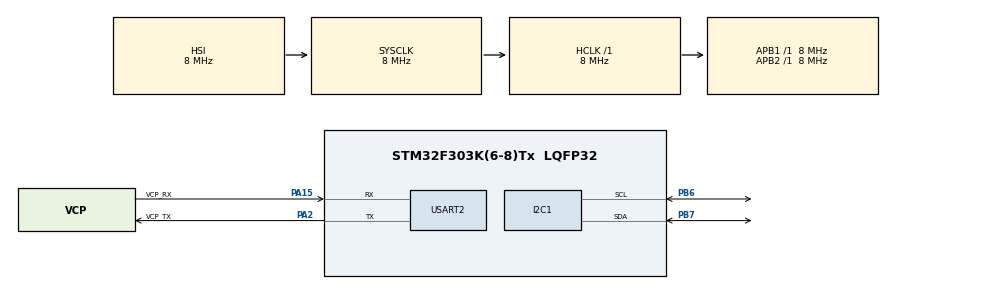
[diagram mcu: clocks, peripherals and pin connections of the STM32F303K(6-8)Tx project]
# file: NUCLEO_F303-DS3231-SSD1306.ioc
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Mcu.Family=STM32F3
Mcu.Name=STM32F303K(6-8)Tx
Mcu.Package=LQFP32
NVIC.PriorityGroup=NVIC_PRIORITYGROUP_4
PA13.GPIO_Label=SWDIO
PA13.Mode=Serial_Wire
PA13.Signal=SYS_JTMS-SWDIO
PA14.GPIO_Label=SWCLK
PA14.Mode=Serial_Wire
PA14.Signal=SYS_JTCK-SWCLK
PA15.GPIO_Label=VCP_RX
PA15.Mode=Asynchronous
PA15.Signal=USART2_RX
PA2.GPIO_Label=VCP_TX
PA2.Mode=Asynchronous
PA2.Signal=USART2_TX
PB6.Mode=I2C
PB6.Signal=I2C1_SCL
PB7.Mode=I2C
PB7.Signal=I2C1_SDA
PF0\ /\ OSC_IN.GPIO_Label=MCO
PF0\ /\ OSC_IN.Mode=HSE-External-Clock-Source
PF0\ /\ OSC_IN.Signal=RCC_OSC_IN
ProjectManager.HeapSize=0x200
ProjectManager.StackSize=0x400
ProjectManager.TargetToolchain=STM32CubeIDE
RCC.AHBFreq_Value=8000000
RCC.APB1Freq_Value=8000000
RCC.APB2Freq_Value=8000000
RCC.CortexFreq_Value=8000000
RCC.HSE_VALUE=8000000
RCC.HSI_VALUE=8000000
RCC.SYSCLKFreq_VALUE=8000000
USART2.VirtualMode-Asynchronous=VM_ASYNC
board=NUCLEO-F303K8

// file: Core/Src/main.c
/* USER CODE BEGIN Header */
/**
  ******************************************************************************
  * @file           : main.c
  * @brief          : Main program body
  ******************************************************************************
  * @attention
  *
  * Copyright (c) 2022 STMicroelectronics.
  * All rights reserved.
  *
  * This software is licensed under terms that can be found in the LICENSE file
  * in the root directory of this software component.
  * If no LICENSE file comes with this software, it is provided AS-IS.
  *
  ******************************************************************************
  */
/* USER CODE END Header */
#include "main.h"

/* USER CODE BEGIN Includes */
#include "stdio.h"
#include "ssd1306.h"
#include "fonts.h"
/* USER CODE END Includes */

/* USER CODE BEGIN PTD */
typedef struct TIME_s{
	uint8_t seconds;
	uint8_t minutes;
	uint8_t hours;
	uint8_t dayofweek;
	uint8_t dayofmonth;
	uint8_t month;
	uint8_t year;
}TIME_t;
/* USER CODE END PTD */

/* USER CODE BEGIN PD */
#define DS3231_ADDRESS 0xD0
/* USER CODE END PD */

 I2C_HandleTypeDef hi2c1;

UART_HandleTypeDef huart2;

/* USER CODE BEGIN PV */
TIME_t time;
/* USER CODE END PV */

void SystemClock_Config(void);
static void MX_GPIO_Init(void);
static void MX_USART2_UART_Init(void);
static void MX_I2C1_Init(void);
/* USER CODE BEGIN PFP */
uint8_t dec_to_bcd(int val);
int bcd_to_dec(uint8_t val);
HAL_StatusTypeDef set_time (uint8_t sec, uint8_t min, uint8_t hour, uint8_t dow, uint8_t dom, uint8_t month, uint8_t year);
HAL_StatusTypeDef get_time (void);
float get_temp (void);
void force_temp_conv (void);
/* USER CODE END PFP */

int main(void)
{

  /* MCU Configuration--------------------------------------------------------*/

  /* Reset of all peripherals, Initializes the Flash interface and the Systick. */
  HAL_Init();

  /* Configure the system clock */
  SystemClock_Config();

  /* Initialize all configured peripherals */
  MX_GPIO_Init();
  MX_USART2_UART_Init();
  MX_I2C1_Init();
  /* USER CODE BEGIN 2 */
  char buffer[15];
  float temp;
  HAL_StatusTypeDef status;

  if (ssd1306_Init(&hi2c1) != 0) {
	  Error_Handler();
  }
  HAL_Delay(1000);

  ssd1306_Fill(Black);
  ssd1306_UpdateScreen(&hi2c1);
  HAL_Delay(1000);
  /* USER CODE END 2 */

  /* Infinite loop */
  while (1)
  {
	status = get_time();
	sprintf (buffer, "%02d:%02d:%02d", time.hours, time.minutes, time.seconds);
	ssd1306_SetCursor(0, 0);
	ssd1306_WriteString(buffer, Font_11x18, White);

	sprintf (buffer, "%02d-%02d-20%02d", time.dayofmonth, time.month, time.year);
	ssd1306_SetCursor(0, 22);
	ssd1306_WriteString(buffer, Font_11x18, White);

	force_temp_conv();

	temp = get_temp();
	sprintf (buffer, "%.2f", temp);
	ssd1306_SetCursor(0, 44);
	ssd1306_WriteString(buffer, Font_11x18, White);
	ssd1306_UpdateScreen(&hi2c1);
	while(status != HAL_OK){
	  ssd1306_Fill(Black);
	  sprintf (buffer, "ERROR");
	  ssd1306_SetCursor(0, 0);
	  ssd1306_WriteString(buffer, Font_16x26, White);
	  ssd1306_UpdateScreen(&hi2c1);
	  HAL_Delay(1000);
	}
	HAL_Delay(100);
    /* USER CODE BEGIN 3 */
  }
  return 1;
  /* USER CODE END 3 */
}

///////////////////////////////////////////////////

// Convert normal decimal numbers to binary coded decimal
uint8_t dec_to_bcd(int val)
{
  return (uint8_t)( (val/10*16) + (val%10) );
}
// Convert binary coded decimal to normal decimal numbers
int bcd_to_dec(uint8_t val)
{
  return (int)( (val/16*10) + (val%16) );
}

HAL_StatusTypeDef set_time (uint8_t sec, uint8_t min, uint8_t hour, uint8_t dow, uint8_t dom, uint8_t month, uint8_t year)
{
	uint8_t time_set[7];
	time_set[0] = dec_to_bcd(sec);
	time_set[1] = dec_to_bcd(min);
	time_set[2] = dec_to_bcd(hour);
	time_set[3] = dec_to_bcd(dow);
	time_set[4] = dec_to_bcd(dom);
	time_set[5] = dec_to_bcd(month);
	time_set[6] = dec_to_bcd(year);
	return HAL_I2C_Mem_Write(&hi2c1, DS3231_ADDRESS, 0x00, 1, time_set, 7, 1000);
}

HAL_StatusTypeDef get_time (void)
{
	uint8_t time_get[7];
	HAL_StatusTypeDef status = HAL_I2C_Mem_Read(&hi2c1, DS3231_ADDRESS, 0x00, 1, time_get, 7, 1000);
	time.seconds = bcd_to_dec(time_get[0]);
	time.minutes = bcd_to_dec(time_get[1]);
	time.hours = bcd_to_dec(time_get[2]);
	time.dayofweek = bcd_to_dec(time_get[3]);
	time.dayofmonth = bcd_to_dec(time_get[4]);
	time.month = bcd_to_dec(time_get[5]);
	time.year = bcd_to_dec(time_get[6]);
	return status;
}

float get_temp (void)
{
	uint8_t temp[2];
	HAL_I2C_Mem_Read(&hi2c1, DS3231_ADDRESS, 0x11, 1, temp, 2, 1000);
	return ((temp[0])+(temp[1]>>6)/4.0);
}

void force_temp_conv (void)
{
	uint8_t status=0;
	uint8_t control=0;
	HAL_I2C_Mem_Read(&hi2c1, DS3231_ADDRESS, 0x0F, 1, &status, 1, 100);
	// read status register
	if (!(status&0x04))  // if the BSY bit is not set
	{
		HAL_I2C_Mem_Read(&hi2c1, DS3231_ADDRESS, 0x0E, 1, &control, 1, 100);  // read control register
		HAL_I2C_Mem_Write(&hi2c1, DS3231_ADDRESS, 0x0E, 1, (uint8_t *)(control|(0x20)), 1, 100);  // write modified control register with CONV bit as'1'
	}
}

////////////////////////////////////////////////////

void SystemClock_Config(void)
{
  RCC_OscInitTypeDef RCC_OscInitStruct = {0};
  RCC_ClkInitTypeDef RCC_ClkInitStruct = {0};
  RCC_PeriphCLKInitTypeDef PeriphClkInit = {0};

  /** Initializes the RCC Oscillators according to the specified parameters
  * in the RCC_OscInitTypeDef structure.
  */
  RCC_OscInitStruct.OscillatorType = RCC_OSCILLATORTYPE_HSI;
  RCC_OscInitStruct.HSIState = RCC_HSI_ON;
  RCC_OscInitStruct.HSICalibrationValue = RCC_HSICALIBRATION_DEFAULT;
  RCC_OscInitStruct.PLL.PLLState = RCC_PLL_NONE;
  if (HAL_RCC_OscConfig(&RCC_OscInitStruct) != HAL_OK)
  {
    Error_Handler();
  }

  /** Initializes the CPU, AHB and APB buses clocks
  */
  RCC_ClkInitStruct.ClockType = RCC_CLOCKTYPE_HCLK|RCC_CLOCKTYPE_SYSCLK
                              |RCC_CLOCKTYPE_PCLK1|RCC_CLOCKTYPE_PCLK2;
  RCC_ClkInitStruct.SYSCLKSource = RCC_SYSCLKSOURCE_HSI;
  RCC_ClkInitStruct.AHBCLKDivider = RCC_SYSCLK_DIV1;
  RCC_ClkInitStruct.APB1CLKDivider = RCC_HCLK_DIV1;
  RCC_ClkInitStruct.APB2CLKDivider = RCC_HCLK_DIV1;

  if (HAL_RCC_ClockConfig(&RCC_ClkInitStruct, FLASH_LATENCY_0) != HAL_OK)
  {
    Error_Handler();
  }
  PeriphClkInit.PeriphClockSelection = RCC_PERIPHCLK_I2C1;
  PeriphClkInit.I2c1ClockSelection = RCC_I2C1CLKSOURCE_HSI;
  if (HAL_RCCEx_PeriphCLKConfig(&PeriphClkInit) != HAL_OK)
  {
    Error_Handler();
  }
}

static void MX_I2C1_Init(void)
{

  hi2c1.Instance = I2C1;
  hi2c1.Init.Timing = 0x2000090E;
  hi2c1.Init.OwnAddress1 = 0;
  hi2c1.Init.AddressingMode = I2C_ADDRESSINGMODE_7BIT;
  hi2c1.Init.DualAddressMode = I2C_DUALADDRESS_DISABLE;
  hi2c1.Init.OwnAddress2 = 0;
  hi2c1.Init.OwnAddress2Masks = I2C_OA2_NOMASK;
  hi2c1.Init.GeneralCallMode = I2C_GENERALCALL_DISABLE;
  hi2c1.Init.NoStretchMode = I2C_NOSTRETCH_DISABLE;
  if (HAL_I2C_Init(&hi2c1) != HAL_OK)
  {
    Error_Handler();
  }

  /** Configure Analogue filter
  */
  if (HAL_I2CEx_ConfigAnalogFilter(&hi2c1, I2C_ANALOGFILTER_ENABLE) != HAL_OK)
  {
    Error_Handler();
  }

  /** Configure Digital filter
  */
  if (HAL_I2CEx_ConfigDigitalFilter(&hi2c1, 0) != HAL_OK)
  {
    Error_Handler();
  }

}

static void MX_USART2_UART_Init(void)
{

  huart2.Instance = USART2;
  huart2.Init.BaudRate = 38400;
  huart2.Init.WordLength = UART_WORDLENGTH_8B;
  huart2.Init.StopBits = UART_STOPBITS_1;
  huart2.Init.Parity = UART_PARITY_NONE;
  huart2.Init.Mode = UART_MODE_TX_RX;
  huart2.Init.HwFlowCtl = UART_HWCONTROL_NONE;
  huart2.Init.OverSampling = UART_OVERSAMPLING_16;
  huart2.Init.OneBitSampling = UART_ONE_BIT_SAMPLE_DISABLE;
  huart2.AdvancedInit.AdvFeatureInit = UART_ADVFEATURE_NO_INIT;
  if (HAL_UART_Init(&huart2) != HAL_OK)
  {
    Error_Handler();
  }

}

static void MX_GPIO_Init(void)
{

  /* GPIO Ports Clock Enable */
  __HAL_RCC_GPIOF_CLK_ENABLE();
  __HAL_RCC_GPIOA_CLK_ENABLE();
  __HAL_RCC_GPIOB_CLK_ENABLE();

}

void Error_Handler(void)
{
  __disable_irq();
  while (1)
  {
  }
}
